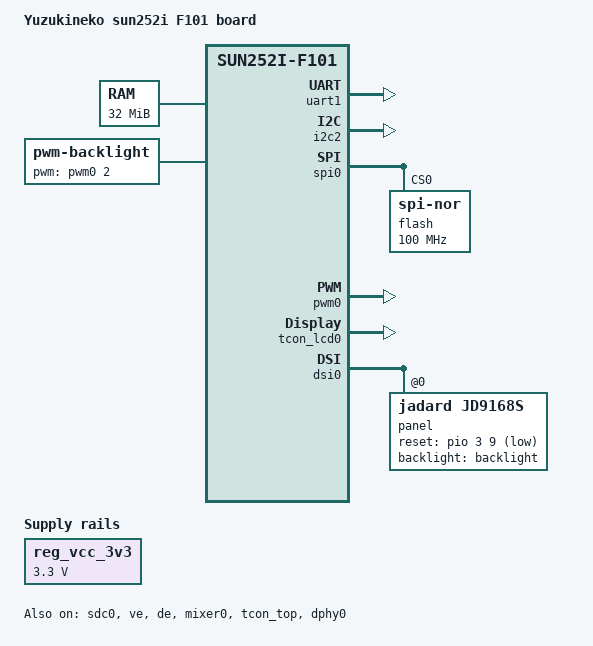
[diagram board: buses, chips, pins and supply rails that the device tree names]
// SPDX-License-Identifier: GPL-2.0-only OR MIT
/dts-v1/;

#include <dt-bindings/pwm/pwm.h>

#include "sun252i-f101.dtsi"

/ {
	model = "Yuzukineko sun252i F101 board";
	compatible = "allwinner,sun252i-f101-yuzukineko", "allwinner,sun252i-f101";

	reg_vcc_3v3: regulator-3v3 {
		compatible = "regulator-fixed";
		regulator-name = "vcc-3v3";
		regulator-min-microvolt = <3300000>;
		regulator-max-microvolt = <3300000>;
		regulator-always-on;
	};

	chosen {
		bootargs = "console=tty0 console=ttyS1,115200n8 earlycon=uart8250,mmio32,0x02500400 loglevel=8 printk.time=1 root=/dev/mtdblock4 rootfstype=squashfs ro";
		stdout-path = "serial1:115200n8";
	};

	memory@40000000 {
		device_type = "memory";
		reg = <0x0 0x40000000 0x0 0x02000000>;
	};
};

&uart1 {
	pinctrl-names = "default";
	pinctrl-0 = <&uart1_pb_pins>;
	status = "okay";
};

&i2c2 {
	pinctrl-names = "default";
	pinctrl-0 = <&i2c2_pb2_pins>;
	status = "okay";
};

&sdc0 {
	vmmc-supply = <&reg_vcc_3v3>;
	vqmmc-supply = <&reg_vcc_3v3>;
	cd-gpios = <&pio 5 6 GPIO_ACTIVE_LOW>; /* PF6 */
	status = "okay";
};

&ve {
	status = "okay";
};

&spi0 {
	pinctrl-names = "default";
	pinctrl-0 = <&spi0_pc_pins>;
	status = "okay";

	flash@0 {
		compatible = "jedec,spi-nor";
		reg = <0>;
		spi-max-frequency = <100000000>;
		spi-rx-bus-width = <4>;
		spi-tx-bus-width = <1>;

		#include "sun252i-f101-nor-partitions.dtsi"
	};
};

/* The 1024x768 MIPI DSI panel of the carrier board */
&pwm0 {
	pinctrl-names = "default";
	pinctrl-0 = <&pwm0_pd22_pin>;
	status = "okay";
};

&de {
	status = "okay";
};

&mixer0 {
	status = "okay";
};

&tcon_top {
	status = "okay";
};

&tcon_lcd0 {
	status = "okay";
};

&dphy0 {
	status = "okay";
};

&dsi0 {
	pinctrl-names = "default";
	pinctrl-0 = <&dsi_pd_pins>;
	status = "okay";

	panel@0 {
		compatible = "jadard,jd9168s";
		reg = <0>;
		reset-gpios = <&pio 3 9 GPIO_ACTIVE_LOW>; /* PD9 */
		backlight = <&backlight>;
	};
};

/ {
	backlight: backlight {
		compatible = "pwm-backlight";
		/* PWM0 channel 2 on PD22, low is on */
		pwms = <&pwm0 2 1000000 PWM_POLARITY_INVERTED>;
		brightness-levels = <0 4 8 16 32 64 96 128 160 192 224 255>;
		default-brightness-level = <6>;
	};
};
